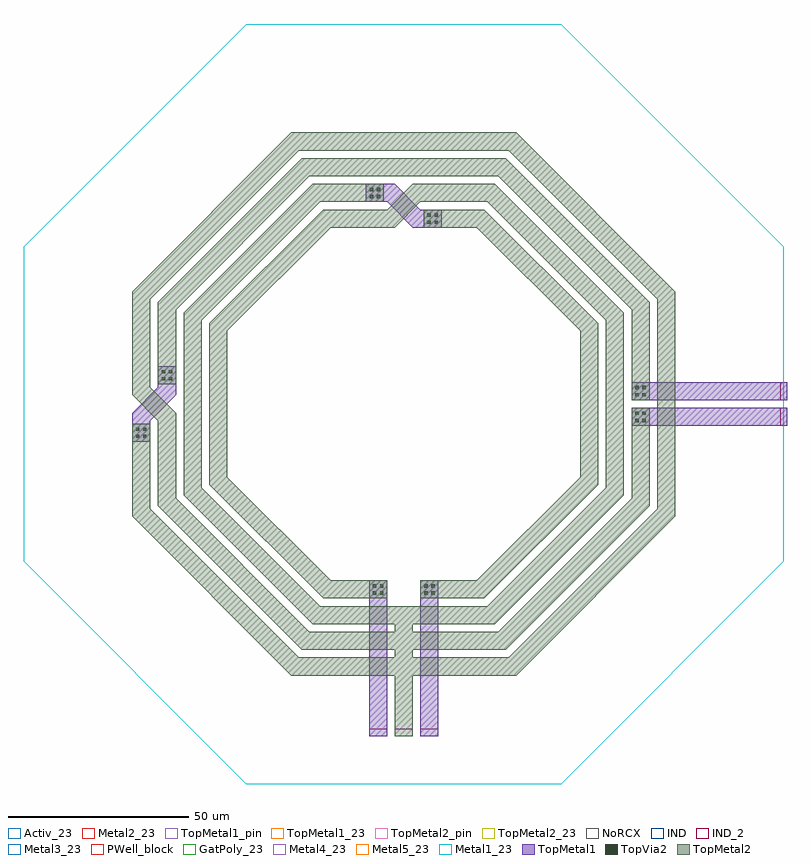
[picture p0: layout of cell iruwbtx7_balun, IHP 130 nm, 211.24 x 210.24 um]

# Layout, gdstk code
from math import pi, radians
import gdstk
lib = gdstk.Library(unit=1e-6, precision=1e-09)
def R(c, l, rs):  # rectangles x0, y0, x1, y1
    for r in rs: c.add(gdstk.rectangle(r[:2], r[2:], *l))
def A(c, l, x, y, w, h, nx, ny, dx, dy):  # array of equal rectangles
    R(c, l, [(x+i*dx, y+j*dy, x+i*dx+w, y+j*dy+h) for i in range(nx) for j in range(ny)])
def P(c, l, *ps):  # polygons
    for p in ps: c.add(gdstk.Polygon(p, *l))
Activ_23 = (1, 23)
GatPoly_23 = (5, 23)
Metal1_23 = (8, 23)
Metal2_23 = (10, 23)
IND = (27, 0)
IND_2 = (27, 2)
Metal3_23 = (30, 23)
PWell_block = (46, 21)
Metal4_23 = (50, 23)
Metal5_23 = (67, 23)
TopMetal1 = (126, 0)
TopMetal1_pin = (126, 2)
TopMetal1_23 = (126, 23)
TopVia2 = (133, 0)
TopMetal2 = (134, 0)
TopMetal2_pin = (134, 2)
TopMetal2_23 = (134, 23)
NoRCX = (148, 0)

inductor2 = lib.new_cell('inductor2')
P(inductor2, Activ_23, [(-43.54,0),(-105.12,61.58),(-105.12,148.66),(-43.54,210.24),(43.54,210.24),(105.12,148.66),(105.12,61.58),(43.54,0)])
P(inductor2, GatPoly_23, [(-43.54,0),(-105.12,61.58),(-105.12,148.66),(-43.54,210.24),(43.54,210.24),(105.12,148.66),(105.12,61.58),(43.54,0)])
P(inductor2, Metal1_23, [(-43.54,0),(-105.12,61.58),(-105.12,148.66),(-43.54,210.24),(43.54,210.24),(105.12,148.66),(105.12,61.58),(43.54,0)])
P(inductor2, Metal2_23, [(-43.54,0),(-105.12,61.58),(-105.12,148.66),(-43.54,210.24),(43.54,210.24),(105.12,148.66),(105.12,61.58),(43.54,0)])
P(inductor2, IND, [(-43.54,0),(-105.12,61.58),(-105.12,148.66),(-43.54,210.24),(43.54,210.24),(105.12,148.66),(105.12,61.58),(43.54,0)])
R(inductor2, IND_2, [(-6.05,-1,-1.05,1), (1.05,-1,6.05,1)])
P(inductor2, Metal3_23, [(-43.54,0),(-105.12,61.58),(-105.12,148.66),(-43.54,210.24),(43.54,210.24),(105.12,148.66),(105.12,61.58),(43.54,0)])
P(inductor2, PWell_block, [(-43.54,0),(-105.12,61.58),(-105.12,148.66),(-43.54,210.24),(43.54,210.24),(105.12,148.66),(105.12,61.58),(43.54,0)])
P(inductor2, Metal4_23, [(-43.54,0),(-105.12,61.58),(-105.12,148.66),(-43.54,210.24),(43.54,210.24),(105.12,148.66),(105.12,61.58),(43.54,0)])
P(inductor2, Metal5_23, [(-43.54,0),(-105.12,61.58),(-105.12,148.66),(-43.54,210.24),(43.54,210.24),(105.12,148.66),(105.12,61.58),(43.54,0)])
P(inductor2, TopMetal1, [(2.535,168.1),(-4.585,175.22),(-10.475,175.22),(-10.475,180.22),(-2.535,180.22),(4.585,173.1),(10.475,173.1),(10.475,168.1)])
R(inductor2, TopMetal1_pin, [(-6.05,-1,-1.05,1), (1.05,-1,6.05,1)])
P(inductor2, TopMetal1_23, [(-43.54,0),(-105.12,61.58),(-105.12,148.66),(-43.54,210.24),(43.54,210.24),(105.12,148.66),(105.12,61.58),(43.54,0)])
R(inductor2, TopVia2, [(-4.98,38.17,-4.08,39.07), (-3.02,38.17,-2.12,39.07), (2.12,38.17,3.02,39.07), (4.08,38.17,4.98,39.07), (-4.98,40.13,-4.08,41.03), (-3.02,40.13,-2.12,41.03), (2.12,40.13,3.02,41.03), (4.08,40.13,4.98,41.03), (6.545,169.17,7.445,170.07), (8.505,169.17,9.405,170.07), (6.545,171.13,7.445,172.03), (8.505,171.13,9.405,172.03), (-9.405,176.27,-8.505,177.17), (-7.445,176.27,-6.545,177.17), (-9.405,178.23,-8.505,179.13), (-7.445,178.23,-6.545,179.13)])
R(inductor2, TopMetal2, [(-5.475,30,5.475,35)])
P(inductor2, TopMetal2, [(1.05,37.1),(1.05,42.1),(26.095,42.1),(63,79.005),(63,131.195),(26.095,168.1),(5.475,168.1),(5.475,173.1),(28.175,173.1),(68,133.275),(68,76.925),(28.175,37.1)],
  [(-28.175,37.1),(-68,76.925),(-68,133.275),(-28.175,173.1),(-5.475,173.1),(-5.475,168.1),(-26.095,168.1),(-63,131.195),(-63,79.005),(-26.095,42.1),(-1.05,42.1),(-1.05,37.1)],
  [(-5.475,168.1),(-5.475,173.1),(-4.585,173.1),(2.535,180.22),(5.475,180.22),(5.475,175.22),(4.615,175.22),(-2.505,168.1)],
  [(5.475,30),(5.475,35),(29.04,35),(70.11,76.07),(70.11,134.15),(29.04,175.22),(5.475,175.22),(5.475,180.22),(31.12,180.22),(75.11,136.23),(75.11,73.99),(31.12,30)],
  [(-31.12,30),(-75.11,73.99),(-75.11,136.23),(-31.12,180.22),(-5.475,180.22),(-5.475,175.22),(-29.04,175.22),(-70.11,134.15),(-70.11,76.07),(-29.04,35),(-5.475,35),(-5.475,30)])
P(inductor2, TopMetal2_23, [(-43.54,0),(-105.12,61.58),(-105.12,148.66),(-43.54,210.24),(43.54,210.24),(105.12,148.66),(105.12,61.58),(43.54,0)])
P(inductor2, NoRCX, [(-43.54,0),(-105.12,61.58),(-105.12,148.66),(-43.54,210.24),(43.54,210.24),(105.12,148.66),(105.12,61.58),(43.54,0)])
inductor2.add(gdstk.FlexPath([(3.55,-1),(3.55,42.1)], 5, ends="flush", simple_path=True, layer=126, datatype=0))  # TopMetal1
inductor2.add(gdstk.FlexPath([(-3.55,-1),(-3.55,42.1)], 5, ends="flush", simple_path=True, layer=126, datatype=0))  # TopMetal1
inductor2.add(gdstk.Label('LB', (3.55,0), layer=27, texttype=25))
inductor2.add(gdstk.Label('LA', (-3.55,0), layer=27, texttype=25))
inductor2.add(gdstk.Label('inductor2', (0,109.488), layer=63, texttype=0))
inductor2.add(gdstk.Label('  width=5.0\n  space=2.1\n  diameter=126.00\n  turns=2', (-105.12,121.01), layer=63, texttype=0))

inductor3 = lib.new_cell('inductor3')
P(inductor3, Activ_23, [(-37.655,0),(-90.91,53.255),(-90.91,128.565),(-37.655,181.82),(37.655,181.82),(90.91,128.565),(90.91,53.255),(37.655,0)])
P(inductor3, GatPoly_23, [(-37.655,0),(-90.91,53.255),(-90.91,128.565),(-37.655,181.82),(37.655,181.82),(90.91,128.565),(90.91,53.255),(37.655,0)])
P(inductor3, Metal1_23, [(-37.655,0),(-90.91,53.255),(-90.91,128.565),(-37.655,181.82),(37.655,181.82),(90.91,128.565),(90.91,53.255),(37.655,0)])
P(inductor3, Metal2_23, [(-37.655,0),(-90.91,53.255),(-90.91,128.565),(-37.655,181.82),(37.655,181.82),(90.91,128.565),(90.91,53.255),(37.655,0)])
P(inductor3, IND, [(-37.655,0),(-90.91,53.255),(-90.91,128.565),(-37.655,181.82),(37.655,181.82),(90.91,128.565),(90.91,53.255),(37.655,0)])
A(inductor3, IND_2, -9.6, -1, 5, 2, 3, 1, 7.1, 0)
P(inductor3, Metal3_23, [(-37.655,0),(-90.91,53.255),(-90.91,128.565),(-37.655,181.82),(37.655,181.82),(90.91,128.565),(90.91,53.255),(37.655,0)])
P(inductor3, PWell_block, [(-37.655,0),(-90.91,53.255),(-90.91,128.565),(-37.655,181.82),(37.655,181.82),(90.91,128.565),(90.91,53.255),(37.655,0)])
P(inductor3, Metal4_23, [(-37.655,0),(-90.91,53.255),(-90.91,128.565),(-37.655,181.82),(37.655,181.82),(90.91,128.565),(90.91,53.255),(37.655,0)])
P(inductor3, Metal5_23, [(-37.655,0),(-90.91,53.255),(-90.91,128.565),(-37.655,181.82),(37.655,181.82),(90.91,128.565),(90.91,53.255),(37.655,0)])
P(inductor3, TopMetal1, [(2.535,139.68),(-4.585,146.8),(-10.475,146.8),(-10.475,151.8),(-2.535,151.8),(4.585,144.68),(10.475,144.68),(10.475,139.68)])
R(inductor3, TopMetal1_pin, [(-9.6,-1,-4.6,1), (4.6,-1,9.6,1)])
P(inductor3, TopMetal1_23, [(-37.655,0),(-90.91,53.255),(-90.91,128.565),(-37.655,181.82),(37.655,181.82),(90.91,128.565),(90.91,53.255),(37.655,0)])
R(inductor3, TopVia2, [(-8.53,38.17,-7.63,39.07), (-6.57,38.17,-5.67,39.07), (5.67,38.17,6.57,39.07), (7.63,38.17,8.53,39.07), (-8.53,40.13,-7.63,41.03), (-6.57,40.13,-5.67,41.03), (5.67,40.13,6.57,41.03), (7.63,40.13,8.53,41.03), (6.545,140.75,7.445,141.65), (8.505,140.75,9.405,141.65), (6.545,142.71,7.445,143.61), (8.505,142.71,9.405,143.61), (-9.405,147.85,-8.505,148.75), (-7.445,147.85,-6.545,148.75), (-9.405,149.81,-8.505,150.71), (-7.445,149.81,-6.545,150.71)])
R(inductor3, TopMetal2, [(-5.475,30,5.475,35)])
P(inductor3, TopMetal2, [(4.6,37.1),(4.6,42.1),(20.205,42.1),(48.79,70.685),(48.79,111.095),(20.205,139.68),(5.475,139.68),(5.475,144.68),(22.285,144.68),(53.79,113.175),(53.79,68.605),(22.285,37.1)],
  [(-22.285,37.1),(-53.79,68.605),(-53.79,113.175),(-22.285,144.68),(-5.475,144.68),(-5.475,139.68),(-20.205,139.68),(-48.79,111.095),(-48.79,70.685),(-20.205,42.1),(-4.6,42.1),(-4.6,37.1)],
  [(-5.475,139.68),(-5.475,144.68),(-4.585,144.68),(2.535,151.8),(5.475,151.8),(5.475,146.8),(4.615,146.8),(-2.505,139.68)],
  [(5.475,30),(5.475,35),(23.15,35),(55.9,67.75),(55.9,114.05),(23.15,146.8),(5.475,146.8),(5.475,151.8),(25.23,151.8),(60.9,116.13),(60.9,65.67),(25.23,30)],
  [(-25.23,30),(-60.9,65.67),(-60.9,116.13),(-25.23,151.8),(-5.475,151.8),(-5.475,146.8),(-23.15,146.8),(-55.9,114.05),(-55.9,67.75),(-23.15,35),(-5.475,35),(-5.475,30)])
R(inductor3, TopMetal2_pin, [(-2.5,-1,2.5,1)])
P(inductor3, TopMetal2_23, [(-37.655,0),(-90.91,53.255),(-90.91,128.565),(-37.655,181.82),(37.655,181.82),(90.91,128.565),(90.91,53.255),(37.655,0)])
P(inductor3, NoRCX, [(-37.655,0),(-90.91,53.255),(-90.91,128.565),(-37.655,181.82),(37.655,181.82),(90.91,128.565),(90.91,53.255),(37.655,0)])
inductor3.add(gdstk.FlexPath([(0,-1),(0,30)], 5, ends="flush", simple_path=True, layer=134, datatype=0))  # TopMetal2
inductor3.add(gdstk.FlexPath([(7.1,-1),(7.1,42.1)], 5, ends="flush", simple_path=True, layer=126, datatype=0))  # TopMetal1
inductor3.add(gdstk.FlexPath([(-7.1,-1),(-7.1,42.1)], 5, ends="flush", simple_path=True, layer=126, datatype=0))  # TopMetal1
inductor3.add(gdstk.Label('LC', (0,0), layer=27, texttype=25))
inductor3.add(gdstk.Label('LB', (7.1,0), layer=27, texttype=25))
inductor3.add(gdstk.Label('LA', (-7.1,0), layer=27, texttype=25))
inductor3.add(gdstk.Label('inductor3', (0,93.548), layer=63, texttype=0))
inductor3.add(gdstk.Label('  width=5.0\n  space=2.1\n  diameter=97.58\n  turns=2', (-90.91,105.078), layer=63, texttype=0))

iruwbtx7_balun = lib.new_cell('iruwbtx7_balun')
iruwbtx7_balun.add(gdstk.Reference(inductor2, (415.34,94.12), rotation=pi/2))
iruwbtx7_balun.add(gdstk.Reference(inductor3, (310.24,3.22)))

lib.write_gds('iruwbtx7_balun.gds')
